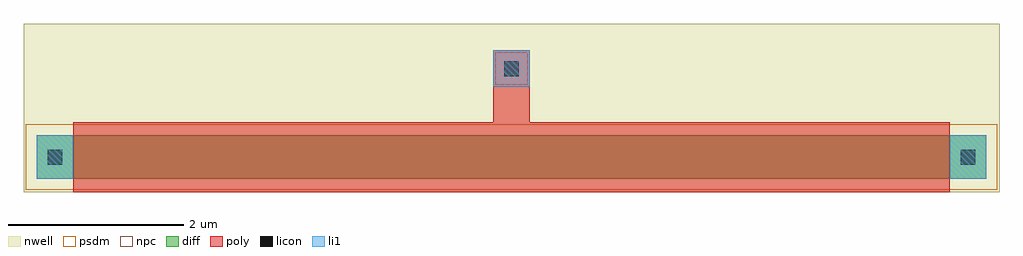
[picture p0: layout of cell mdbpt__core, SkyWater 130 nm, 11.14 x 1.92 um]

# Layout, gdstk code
import gdstk
lib = gdstk.Library(unit=1e-6, precision=1e-09)
def R(c, l, rs):  # rectangles x0, y0, x1, y1
    for r in rs: c.add(gdstk.rectangle(r[:2], r[2:], *l))
nwell = (64, 20)
diff = (65, 20)
poly = (66, 20)
licon = (66, 44)
li1 = (67, 20)
psdm = (94, 20)
npc = (95, 20)

mdbpt__core = lib.new_cell('mdbpt__core')
R(mdbpt__core, nwell, [(-0.15,-0.15,10.99,1.77)])
R(mdbpt__core, diff, [(0,0,10.84,0.5)])
R(mdbpt__core, poly, [(0.42,-0.15,10.42,0.5), (0.42,0.5,10.42,0.65), (0.42,0.5,10.42,0.65), (5.21,0.65,5.63,1.47)])
R(mdbpt__core, licon, [(0.125,0.165,0.295,0.335), (10.545,0.165,10.715,0.335), (5.335,1.175,5.505,1.345)])
R(mdbpt__core, li1, [(0,0,0.42,0.5), (10.42,0,10.84,0.5), (5.21,1.05,5.63,1.47)])
R(mdbpt__core, psdm, [(-0.125,-0.125,10.965,0.625)])
R(mdbpt__core, npc, [(5.235,1.075,5.605,1.445)])

lib.write_gds('mdbpt__core.gds')
